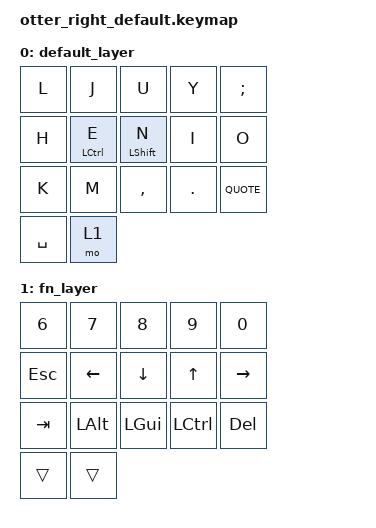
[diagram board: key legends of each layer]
/ {
  keymap {
    compatible = "zmk,keymap";

    default_layer {
      bindings = <
        &kp L     &kp J       &kp U        &kp Y       &kp SEMI
        &kp H     &mt LCTRL E &mt LSHFT N  &kp I       &kp O
        &kp K     &kp M   &kp COMMA      &kp DOT   &kp QUOTE
        &kp SPACE     &mo 1
      >;
    };

    fn_layer {
      bindings = <
        &kp 6     &kp 7       &kp 8        &kp 9       &kp 0
        &kp ESC   &kp LEFT    &kp DOWN     &kp UP      &kp RIGHT
        &kp TAB   &kp LALT    &kp LGUI     &kp LCTRL   &kp DEL
        &trans    &trans
      >;
    };
  };
};
